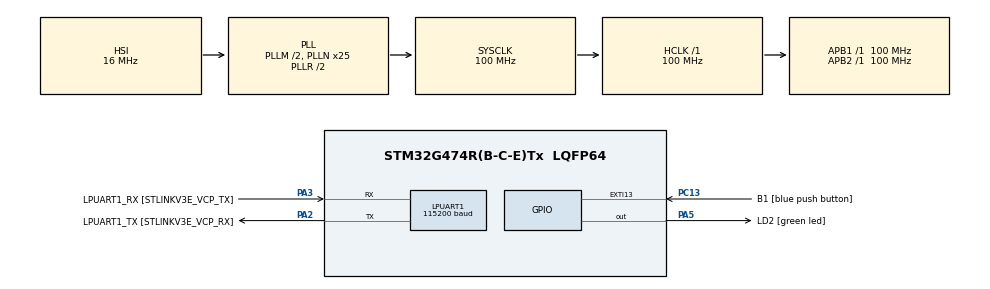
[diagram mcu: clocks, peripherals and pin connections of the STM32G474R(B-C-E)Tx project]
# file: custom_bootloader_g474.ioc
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LPUART1.BaudRate=115200
LPUART1.WordLength=UART_WORDLENGTH_8B
Mcu.Family=STM32G4
Mcu.Name=STM32G474R(B-C-E)Tx
Mcu.Package=LQFP64
NVIC.EXTI15_10_IRQn=true\:0\:0\:false\:false\:true\:true\:true
NVIC.PriorityGroup=NVIC_PRIORITYGROUP_4
PA13.GPIO_Label=T_SWDIO
PA13.Mode=Serial_Wire
PA13.Signal=SYS_JTMS-SWDIO
PA14.GPIO_Label=T_SWCLK
PA14.Mode=Serial_Wire
PA14.Signal=SYS_JTCK-SWCLK
PA2.GPIO_Label=LPUART1_TX [STLINKV3E_VCP_RX]
PA2.Mode=Asynchronous
PA2.Signal=LPUART1_TX
PA3.GPIO_Label=LPUART1_RX [STLINKV3E_VCP_TX]
PA3.Mode=Asynchronous
PA3.Signal=LPUART1_RX
PA5.GPIO_Label=LD2 [green led]
PA5.Signal=GPIO_Output
PB3.GPIO_Label=T_SWO
PB3.Signal=SYS_JTDO-SWO
PC13.GPIO_Label=B1 [blue push button]
PC13.Signal=GPXTI13
PC14-OSC32_IN.Mode=LSE-External-Oscillator
PC14-OSC32_IN.Signal=RCC_OSC32_IN
PC15-OSC32_OUT.Mode=LSE-External-Oscillator
PC15-OSC32_OUT.Signal=RCC_OSC32_OUT
PF0-OSC_IN.Mode=HSE-External-Oscillator
PF0-OSC_IN.Signal=RCC_OSC_IN
PF1-OSC_OUT.Mode=HSE-External-Oscillator
PF1-OSC_OUT.Signal=RCC_OSC_OUT
ProjectManager.HeapSize=0x200
ProjectManager.StackSize=0x400
ProjectManager.TargetToolchain=MDK-ARM V5.32
RCC.ADC12Freq_Value=100000000
RCC.ADC345Freq_Value=100000000
RCC.AHBFreq_Value=100000000
RCC.APB1Freq_Value=100000000
RCC.APB1TimFreq_Value=100000000
RCC.APB2Freq_Value=100000000
RCC.APB2TimFreq_Value=100000000
RCC.CortexFreq_Value=100000000
RCC.EXTERNAL_CLOCK_VALUE=12288000
RCC.HCLKFreq_Value=100000000
RCC.HSE_VALUE=24000000
RCC.HSI48_VALUE=48000000
RCC.HSI_VALUE=16000000
RCC.PLLM=RCC_PLLM_DIV2
RCC.PLLN=25
RCC.RTCClockSelection=RCC_RTCCLKSOURCE_LSE
RCC.SYSCLKFreq_VALUE=100000000
RCC.SYSCLKSource=RCC_SYSCLKSOURCE_PLLCLK
RCC.USBFreq_Value=100000000
RCC.VCOOutputFreq_Value=200000000
VP_CRC_VS_CRC.Mode=CRC_Activate
VP_SYS_VS_DBSignals.Mode=DisableDeadBatterySignals
board=NUCLEO-G474RE

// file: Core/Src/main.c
/* USER CODE BEGIN Header */
/**
  ******************************************************************************
  * @file           : main.c
  * @brief          : Main program body
  ******************************************************************************
  * @attention
  *
  * Copyright (c) 2024 STMicroelectronics.
  * All rights reserved.
  *
  * This software is licensed under terms that can be found in the LICENSE file
  * in the root directory of this software component.
  * If no LICENSE file comes with this software, it is provided AS-IS.
  *
  ******************************************************************************
  */
/* USER CODE END Header */
#include "main.h"
#include "crc.h"
#include "usart.h"
#include "gpio.h"
#include <stdint.h>
#include <stdio.h>
#define BOOTLOADER_DEBUG_EN 1
#define D_UART &hlpuart1

/* USER CODE BEGIN PTD */
#define FLASH_BASE_ADDRESS_USER_APP 0x08008000
/* USER CODE END PTD */

/* USER CODE BEGIN PD */
void bl_jump_to_user_application(void);

/* USER CODE END PD */

void SystemClock_Config(void);

int main(void)
{

  /* MCU Configuration--------------------------------------------------------*/

  /* Reset of all peripherals, Initializes the Flash interface and the Systick. */
  HAL_Init();

  /* Configure the system clock */
  SystemClock_Config();

  /* Initialize all configured peripherals */
  MX_GPIO_Init();
  MX_LPUART1_UART_Init();
  MX_CRC_Init();
  /* USER CODE BEGIN 2 */
	if(HAL_GPIO_ReadPin(B1_GPIO_Port, B1_Pin) == GPIO_PIN_SET)
	{
		debug_print("Wait for new firmware\r\n");
		//bl_wait_for_uart_data();
	}
	else
	{
		debug_print("Jump to user applicaiton\r\n");
		bl_jump_to_user_application();
	}
  /* USER CODE END 2 */

  /* Infinite loop */
  while (1)
  {
//		debug_print("Pranav Vasudevan \r\n");
//		uint32_t current_time = HAL_GetTick();
//		debug_print("current time = %d\r\n", &current_time);
//		while(HAL_GetTick()< current_time +1000);
  }
}

void SystemClock_Config(void)
{
  RCC_OscInitTypeDef RCC_OscInitStruct = {0};
  RCC_ClkInitTypeDef RCC_ClkInitStruct = {0};

  /** Configure the main internal regulator output voltage
  */
  HAL_PWREx_ControlVoltageScaling(PWR_REGULATOR_VOLTAGE_SCALE1);
  /** Initializes the RCC Oscillators according to the specified parameters
  * in the RCC_OscInitTypeDef structure.
  */
  RCC_OscInitStruct.OscillatorType = RCC_OSCILLATORTYPE_HSI;
  RCC_OscInitStruct.HSIState = RCC_HSI_ON;
  RCC_OscInitStruct.HSICalibrationValue = RCC_HSICALIBRATION_DEFAULT;
  RCC_OscInitStruct.PLL.PLLState = RCC_PLL_ON;
  RCC_OscInitStruct.PLL.PLLSource = RCC_PLLSOURCE_HSI;
  RCC_OscInitStruct.PLL.PLLM = RCC_PLLM_DIV2;
  RCC_OscInitStruct.PLL.PLLN = 25;
  RCC_OscInitStruct.PLL.PLLP = RCC_PLLP_DIV2;
  RCC_OscInitStruct.PLL.PLLQ = RCC_PLLQ_DIV2;
  RCC_OscInitStruct.PLL.PLLR = RCC_PLLR_DIV2;
  if (HAL_RCC_OscConfig(&RCC_OscInitStruct) != HAL_OK)
  {
    Error_Handler();
  }
  /** Initializes the CPU, AHB and APB buses clocks
  */
  RCC_ClkInitStruct.ClockType = RCC_CLOCKTYPE_HCLK|RCC_CLOCKTYPE_SYSCLK
                              |RCC_CLOCKTYPE_PCLK1|RCC_CLOCKTYPE_PCLK2;
  RCC_ClkInitStruct.SYSCLKSource = RCC_SYSCLKSOURCE_PLLCLK;
  RCC_ClkInitStruct.AHBCLKDivider = RCC_SYSCLK_DIV1;
  RCC_ClkInitStruct.APB1CLKDivider = RCC_HCLK_DIV1;
  RCC_ClkInitStruct.APB2CLKDivider = RCC_HCLK_DIV1;

  if (HAL_RCC_ClockConfig(&RCC_ClkInitStruct, FLASH_LATENCY_2) != HAL_OK)
  {
    Error_Handler();
  }
}

/* USER CODE BEGIN 4 */
//jump to user application
void bl_jump_to_user_application(void)
{
	//function to handler the address of the resethandler of the userapp
	void (*app_reset_handler)(void);
	debug_print("Jumping to user application\r\n");

	//get the msp addrss from the start of the userapp flash address. it is 32 bit long
	uint32_t msp_value = *(volatile uint32_t *) FLASH_BASE_ADDRESS_USER_APP;

	//use cmsis apis to set the msp
	__set_MSP(msp_value);

	//get the reset handler address
	uint32_t reset_handler_user_address = *(volatile uint32_t *) (FLASH_BASE_ADDRESS_USER_APP + 4);

	//init the function pointer with the reset handler address of the user app
	app_reset_handler = (void*)reset_handler_user_address;

	// jump to the user application
	app_reset_handler();
}

/* USER CODE END 4 */

void Error_Handler(void)
{
  __disable_irq();
  while (1)
  {
  }
}
